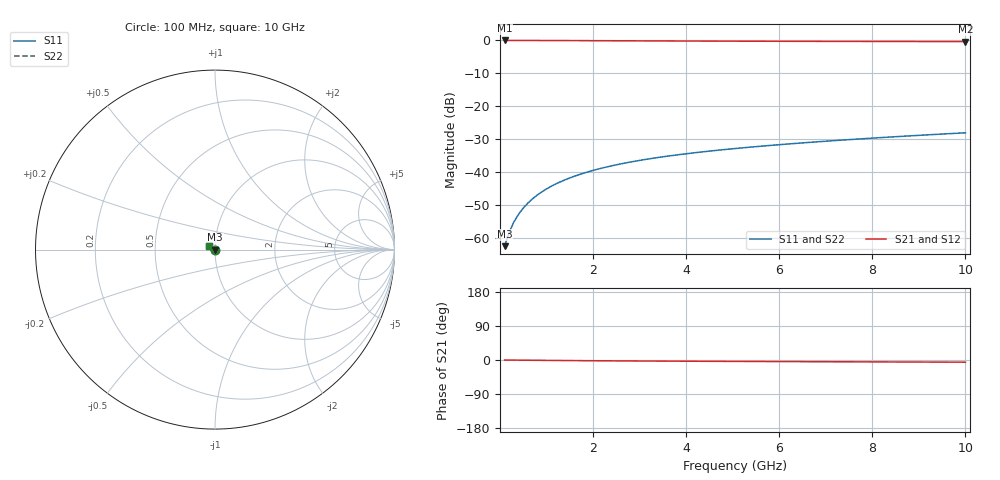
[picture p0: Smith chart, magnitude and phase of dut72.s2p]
! Touchstone file exported from HFSS 2024.1.0
!  File:  C:/UserFiles/LocalFiles/RDL_TSV_Batchsim/temp_TSV1_72_1779374172.aedt
!  Generated:  10:43:38 PM May 21, 2026
!  Design:  TSV1
!  Project:  temp_TSV1_72_1779374172
!  Setup:  Setup1
!  Solution:  Sweep
! Variables:
!  dtsv = 5.31um
!  hbump = 3um
!  htsv = 86.79um
!  lrdl = 252.1521522um
!  p = 40
!  p1 = 46.55um
!  t = 500um
!  trdl = 3um
!  wrdl = 24.89489489um
# GHz S MA R 50.000000
! Terminal data exported
! Port[1] = TSV22_T1
! Port[2] = TSV22_T2
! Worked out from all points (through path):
!   100 points, 100 MHz to 10 GHz, reference 50 ohm
!   highest |S21| = 0.00 dB at 100 MHz (marker M1); lowest = -0.3 dB at 10 GHz (marker M2)
!   lowest |S11| = -62.4 dB at 100 MHz (marker M3), VSWR 1.00, Z = 50.1 - j0.0576 ohm
!   |S11| at or under -10 dB: start of sweep to end of sweep
!   |S22| runs from -62.4 to -28.0 dB; largest |S21 - S12| = 1e-14
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0.1  0.0007628 -49.0  0.9995 -0.1  0.9995 -0.1  0.0007628 -49.0
! Gamma 0 0 0 0
! Port Impedance 50 0 50 0
0.2  0.001245 -69.2  0.9994 -0.2  0.9994 -0.2  0.001245 -69.2
0.3  0.001778 -79.2  0.9992 -0.3  0.9992 -0.3  0.001778 -79.2
0.4  0.002325 -85.6  0.9991 -0.4  0.9991 -0.4  0.002325 -85.6
0.5  0.002877 -90.4  0.9989 -0.5  0.9989 -0.5  0.002877 -90.4
0.6  0.00343 -94.3  0.9986 -0.6  0.9986 -0.6  0.00343 -94.3
0.7  0.003981 -97.7  0.9984 -0.7  0.9984 -0.7  0.003981 -97.7
0.8  0.00453 -100.8  0.998 -0.8  0.998 -0.8  0.00453 -100.8
0.9  0.005075 -103.7  0.9977 -0.9  0.9977 -0.9  0.005075 -103.7
1.1  0.006153 -109.0  0.9969 -1.1  0.9969 -1.1  0.006153 -109.0
1.4  0.007731 -116.2  0.9955 -1.4  0.9955 -1.4  0.007731 -116.2
1.6  0.008753 -120.7  0.9944 -1.6  0.9944 -1.6  0.008753 -120.7
1.8  0.00975 -125.0  0.9932 -1.7  0.9932 -1.7  0.00975 -125.0
2.1  0.0112 -131.2  0.9914 -2.0  0.9914 -2.0  0.0112 -131.2
2.5  0.01304 -138.8  0.9889 -2.3  0.9889 -2.3  0.01304 -138.8
2.9  0.01478 -145.9  0.9864 -2.6  0.9864 -2.6  0.01478 -145.9
3.4  0.01684 -154.1  0.9833 -2.9  0.9833 -2.9  0.01684 -154.1
4.2  0.01993 -165.7  0.9788 -3.3  0.9788 -3.3  0.01993 -165.6
5.1  0.02318 -176.8  0.9746 -3.7  0.9746 -3.7  0.02318 -176.8
6.7  0.0287 167.3  0.9687 -4.4  0.9687 -4.4  0.0287 167.3
8.4  0.03443 154.5  0.9644 -5.1  0.9644 -5.1  0.03443 154.5
10  0.03983 145.0  0.9615 -5.8  0.9615 -5.8  0.03983 145.0
